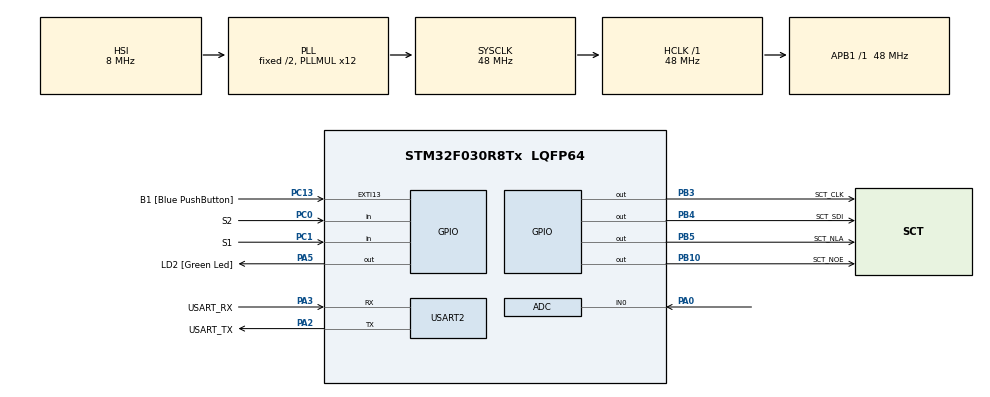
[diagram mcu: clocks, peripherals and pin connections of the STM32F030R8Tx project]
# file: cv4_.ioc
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ADC.ContinuousConvMode=ENABLE
ADC.Overrun=ADC_OVR_DATA_OVERWRITTEN
ADC.SamplingTime=ADC_SAMPLETIME_239CYCLES_5
Mcu.Family=STM32F0
Mcu.Name=STM32F030R8Tx
Mcu.Package=LQFP64
NVIC.ADC1_IRQn=true\:0\:0\:false\:false\:true\:true\:true\:true
PA0.Mode=IN0
PA0.Signal=ADC_IN0
PA13.GPIO_Label=TMS
PA13.Mode=Serial_Wire
PA13.Signal=SYS_SWDIO
PA14.GPIO_Label=TCK
PA14.Mode=Serial_Wire
PA14.Signal=SYS_SWCLK
PA2.GPIO_Label=USART_TX
PA2.GPIO_Mode=GPIO_MODE_AF_PP
PA2.GPIO_PuPd=GPIO_NOPULL
PA2.GPIO_Speed=GPIO_SPEED_FREQ_LOW
PA2.Mode=Asynchronous
PA2.Signal=USART2_TX
PA3.GPIO_Label=USART_RX
PA3.GPIO_Mode=GPIO_MODE_AF_PP
PA3.GPIO_PuPd=GPIO_NOPULL
PA3.GPIO_Speed=GPIO_SPEED_FREQ_LOW
PA3.Mode=Asynchronous
PA3.Signal=USART2_RX
PA5.GPIO_Label=LD2 [Green Led]
PA5.GPIO_Mode=GPIO_MODE_OUTPUT_PP
PA5.GPIO_PuPd=GPIO_NOPULL
PA5.GPIO_Speed=GPIO_SPEED_FREQ_LOW
PA5.Signal=GPIO_Output
PB10.GPIO_Label=SCT_NOE
PB10.Signal=GPIO_Output
PB3.GPIO_Label=SCT_CLK
PB3.Signal=GPIO_Output
PB4.GPIO_Label=SCT_SDI
PB4.Signal=GPIO_Output
PB5.GPIO_Label=SCT_NLA
PB5.Signal=GPIO_Output
PC0.GPIO_Label=S2
PC0.GPIO_PuPd=GPIO_PULLUP
PC0.Signal=GPIO_Input
PC1.GPIO_Label=S1
PC1.GPIO_PuPd=GPIO_PULLUP
PC1.Signal=GPIO_Input
PC13.GPIO_Label=B1 [Blue PushButton]
PC13.GPIO_ModeDefaultEXTI=GPIO_MODE_IT_FALLING
PC13.Signal=GPXTI13
PC14-OSC32_IN.Mode=LSE-External-Oscillator
PC14-OSC32_IN.Signal=RCC_OSC32_IN
PC15-OSC32_OUT.Mode=LSE-External-Oscillator
PC15-OSC32_OUT.Signal=RCC_OSC32_OUT
PF0-OSC_IN.Mode=HSE-External-Clock-Source
PF0-OSC_IN.Signal=RCC_OSC_IN
PF1-OSC_OUT.Signal=RCC_OSC_OUT
ProjectManager.HeapSize=0x200
ProjectManager.StackSize=0x400
ProjectManager.TargetToolchain=STM32CubeIDE
RCC.AHBFreq_Value=48000000
RCC.APB1Freq_Value=48000000
RCC.APB1TimFreq_Value=48000000
RCC.HCLKFreq_Value=48000000
RCC.PLLMUL=RCC_PLL_MUL12
RCC.SYSCLKFreq_VALUE=48000000
RCC.SYSCLKSource=RCC_SYSCLKSOURCE_PLLCLK
USART2.VirtualMode-Asynchronous=VM_ASYNC
VP_ADC_TempSens_Input.Mode=IN-TempSens
VP_ADC_Vref_Input.Mode=IN-Vrefint
board=NUCLEO-F030R8

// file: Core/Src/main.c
/* USER CODE BEGIN Header */
/**
  ******************************************************************************
  * @file           : main.c
  * @brief          : Main program body
  ******************************************************************************
  * @attention
  *
  * Copyright (c) 2025 STMicroelectronics.
  * All rights reserved.
  *
  * This software is licensed under terms that can be found in the LICENSE file
  * in the root directory of this software component.
  * If no LICENSE file comes with this software, it is provided AS-IS.
  *
  ******************************************************************************
  */
/* USER CODE END Header */
#include "main.h"

/* USER CODE BEGIN Includes */
#include "sct.h"
/* USER CODE END Includes */

/* USER CODE BEGIN PD */
#define ADC_Q 12

/* Temperature sensor calibration value address */
#define TEMP110_CAL_ADDR ((uint16_t*) ((uint32_t) 0x1FFFF7C2))
#define TEMP30_CAL_ADDR ((uint16_t*) ((uint32_t) 0x1FFFF7B8))
/* Internal voltage reference calibration value address */
#define VREFINT_CAL_ADDR ((uint16_t*) ((uint32_t) 0x1FFFF7BA))
/* USER CODE END PD */

ADC_HandleTypeDef hadc;

UART_HandleTypeDef huart2;

/* USER CODE BEGIN PV */
static volatile uint32_t raw_pot;
static volatile uint32_t avg_pot;

static enum {
	SHOW_POT,
	SHOW_VOLT,
	SHOW_TEMP
} state = SHOW_POT;

static volatile uint32_t raw_temp;
static volatile uint32_t raw_volt;
/* USER CODE END PV */

void SystemClock_Config(void);
static void MX_GPIO_Init(void);
static void MX_USART2_UART_Init(void);
static void MX_ADC_Init(void);

int main(void)
{

  /* MCU Configuration--------------------------------------------------------*/

  /* Reset of all peripherals, Initializes the Flash interface and the Systick. */
  HAL_Init();

  /* USER CODE BEGIN Init */
  sct_init();
  /* USER CODE END Init */

  /* Configure the system clock */
  SystemClock_Config();

  /* Initialize all configured peripherals */
  MX_GPIO_Init();
  MX_USART2_UART_Init();
  MX_ADC_Init();
  /* USER CODE BEGIN 2 */

  HAL_ADCEx_Calibration_Start(&hadc);
  HAL_ADC_Start_IT(&hadc);
  /* USER CODE END 2 */

  /* Infinite loop */
  /* USER CODE BEGIN WHILE */
  while (1)
  {
	 static uint32_t time = 0;

	 switch(state)
	 {
	 case SHOW_POT:
		 uint16_t pot_value = ((avg_pot >> ADC_Q) * 501) / 4096;
		 sct_value(pot_value, (pot_value * 8) / 500);
		 HAL_Delay(50);
		 break;
	 case SHOW_VOLT:
		 uint32_t voltage;
		 	voltage = 330 * (*VREFINT_CAL_ADDR) / raw_volt;
		 sct_value(voltage,1);
		 break;
	 case SHOW_TEMP:
		 int32_t temperature = (raw_temp - (int32_t)(*TEMP30_CAL_ADDR));
		 	temperature = temperature * (int32_t)(110 - 30);
		 	temperature = temperature / (int32_t)(*TEMP110_CAL_ADDR - *TEMP30_CAL_ADDR);
		 	temperature = temperature + 30;
		 sct_value(temperature,1);
		 break;
	 }

	 if (!HAL_GPIO_ReadPin(S1_GPIO_Port, S1_Pin))
	 {
		 time = HAL_GetTick();
		 state = SHOW_VOLT;
	 }
	 if (!HAL_GPIO_ReadPin(S2_GPIO_Port, S2_Pin))
	 {
		 time = HAL_GetTick();
		 state = SHOW_TEMP;
	 }

	 if (time + 1000 < HAL_GetTick()) state = SHOW_POT;

    /* USER CODE END WHILE */

  }
}

void SystemClock_Config(void)
{
  RCC_OscInitTypeDef RCC_OscInitStruct = {0};
  RCC_ClkInitTypeDef RCC_ClkInitStruct = {0};

  /** Initializes the RCC Oscillators according to the specified parameters
  * in the RCC_OscInitTypeDef structure.
  */
  RCC_OscInitStruct.OscillatorType = RCC_OSCILLATORTYPE_HSI|RCC_OSCILLATORTYPE_HSI14;
  RCC_OscInitStruct.HSIState = RCC_HSI_ON;
  RCC_OscInitStruct.HSI14State = RCC_HSI14_ON;
  RCC_OscInitStruct.HSICalibrationValue = RCC_HSICALIBRATION_DEFAULT;
  RCC_OscInitStruct.HSI14CalibrationValue = 16;
  RCC_OscInitStruct.PLL.PLLState = RCC_PLL_ON;
  RCC_OscInitStruct.PLL.PLLSource = RCC_PLLSOURCE_HSI;
  RCC_OscInitStruct.PLL.PLLMUL = RCC_PLL_MUL12;
  RCC_OscInitStruct.PLL.PREDIV = RCC_PREDIV_DIV1;
  if (HAL_RCC_OscConfig(&RCC_OscInitStruct) != HAL_OK)
  {
    Error_Handler();
  }

  /** Initializes the CPU, AHB and APB buses clocks
  */
  RCC_ClkInitStruct.ClockType = RCC_CLOCKTYPE_HCLK|RCC_CLOCKTYPE_SYSCLK
                              |RCC_CLOCKTYPE_PCLK1;
  RCC_ClkInitStruct.SYSCLKSource = RCC_SYSCLKSOURCE_PLLCLK;
  RCC_ClkInitStruct.AHBCLKDivider = RCC_SYSCLK_DIV1;
  RCC_ClkInitStruct.APB1CLKDivider = RCC_HCLK_DIV1;

  if (HAL_RCC_ClockConfig(&RCC_ClkInitStruct, FLASH_LATENCY_1) != HAL_OK)
  {
    Error_Handler();
  }
}

static void MX_ADC_Init(void)
{

  ADC_ChannelConfTypeDef sConfig = {0};

  /** Configure the global features of the ADC (Clock, Resolution, Data Alignment and number of conversion)
  */
  hadc.Instance = ADC1;
  hadc.Init.ClockPrescaler = ADC_CLOCK_ASYNC_DIV1;
  hadc.Init.Resolution = ADC_RESOLUTION_12B;
  hadc.Init.DataAlign = ADC_DATAALIGN_RIGHT;
  hadc.Init.ScanConvMode = ADC_SCAN_DIRECTION_FORWARD;
  hadc.Init.EOCSelection = ADC_EOC_SINGLE_CONV;
  hadc.Init.LowPowerAutoWait = DISABLE;
  hadc.Init.LowPowerAutoPowerOff = DISABLE;
  hadc.Init.ContinuousConvMode = ENABLE;
  hadc.Init.DiscontinuousConvMode = DISABLE;
  hadc.Init.ExternalTrigConv = ADC_SOFTWARE_START;
  hadc.Init.ExternalTrigConvEdge = ADC_EXTERNALTRIGCONVEDGE_NONE;
  hadc.Init.DMAContinuousRequests = DISABLE;
  hadc.Init.Overrun = ADC_OVR_DATA_OVERWRITTEN;
  if (HAL_ADC_Init(&hadc) != HAL_OK)
  {
    Error_Handler();
  }

  /** Configure for the selected ADC regular channel to be converted.
  */
  sConfig.Channel = ADC_CHANNEL_0;
  sConfig.Rank = ADC_RANK_CHANNEL_NUMBER;
  sConfig.SamplingTime = ADC_SAMPLETIME_239CYCLES_5;
  if (HAL_ADC_ConfigChannel(&hadc, &sConfig) != HAL_OK)
  {
    Error_Handler();
  }

  /** Configure for the selected ADC regular channel to be converted.
  */
  sConfig.Channel = ADC_CHANNEL_TEMPSENSOR;
  if (HAL_ADC_ConfigChannel(&hadc, &sConfig) != HAL_OK)
  {
    Error_Handler();
  }

  /** Configure for the selected ADC regular channel to be converted.
  */
  sConfig.Channel = ADC_CHANNEL_VREFINT;
  if (HAL_ADC_ConfigChannel(&hadc, &sConfig) != HAL_OK)
  {
    Error_Handler();
  }

}

static void MX_USART2_UART_Init(void)
{

  huart2.Instance = USART2;
  huart2.Init.BaudRate = 38400;
  huart2.Init.WordLength = UART_WORDLENGTH_8B;
  huart2.Init.StopBits = UART_STOPBITS_1;
  huart2.Init.Parity = UART_PARITY_NONE;
  huart2.Init.Mode = UART_MODE_TX_RX;
  huart2.Init.HwFlowCtl = UART_HWCONTROL_NONE;
  huart2.Init.OverSampling = UART_OVERSAMPLING_16;
  huart2.Init.OneBitSampling = UART_ONE_BIT_SAMPLE_DISABLE;
  huart2.AdvancedInit.AdvFeatureInit = UART_ADVFEATURE_NO_INIT;
  if (HAL_UART_Init(&huart2) != HAL_OK)
  {
    Error_Handler();
  }

}

static void MX_GPIO_Init(void)
{
  GPIO_InitTypeDef GPIO_InitStruct = {0};

  /* GPIO Ports Clock Enable */
  __HAL_RCC_GPIOC_CLK_ENABLE();
  __HAL_RCC_GPIOF_CLK_ENABLE();
  __HAL_RCC_GPIOA_CLK_ENABLE();
  __HAL_RCC_GPIOB_CLK_ENABLE();

  /*Configure GPIO pin Output Level */
  HAL_GPIO_WritePin(LD2_GPIO_Port, LD2_Pin, GPIO_PIN_RESET);

  /*Configure GPIO pin Output Level */
  HAL_GPIO_WritePin(GPIOB, SCT_NOE_Pin|SCT_CLK_Pin|SCT_SDI_Pin|SCT_NLA_Pin, GPIO_PIN_RESET);

  /*Configure GPIO pin : B1_Pin */
  GPIO_InitStruct.Pin = B1_Pin;
  GPIO_InitStruct.Mode = GPIO_MODE_IT_FALLING;
  GPIO_InitStruct.Pull = GPIO_NOPULL;
  HAL_GPIO_Init(B1_GPIO_Port, &GPIO_InitStruct);

  /*Configure GPIO pins : S2_Pin S1_Pin */
  GPIO_InitStruct.Pin = S2_Pin|S1_Pin;
  GPIO_InitStruct.Mode = GPIO_MODE_INPUT;
  GPIO_InitStruct.Pull = GPIO_PULLUP;
  HAL_GPIO_Init(GPIOC, &GPIO_InitStruct);

  /*Configure GPIO pin : LD2_Pin */
  GPIO_InitStruct.Pin = LD2_Pin;
  GPIO_InitStruct.Mode = GPIO_MODE_OUTPUT_PP;
  GPIO_InitStruct.Pull = GPIO_NOPULL;
  GPIO_InitStruct.Speed = GPIO_SPEED_FREQ_LOW;
  HAL_GPIO_Init(LD2_GPIO_Port, &GPIO_InitStruct);

  /*Configure GPIO pins : SCT_NOE_Pin SCT_CLK_Pin SCT_SDI_Pin SCT_NLA_Pin */
  GPIO_InitStruct.Pin = SCT_NOE_Pin|SCT_CLK_Pin|SCT_SDI_Pin|SCT_NLA_Pin;
  GPIO_InitStruct.Mode = GPIO_MODE_OUTPUT_PP;
  GPIO_InitStruct.Pull = GPIO_NOPULL;
  GPIO_InitStruct.Speed = GPIO_SPEED_FREQ_LOW;
  HAL_GPIO_Init(GPIOB, &GPIO_InitStruct);

}

/* USER CODE BEGIN 4 */

void HAL_ADC_ConvCpltCallback(ADC_HandleTypeDef* hadc)
{
	static uint16_t channel = 0;

	switch(channel)
	{
	case 0:
		raw_pot = avg_pot >> ADC_Q;
		avg_pot -= raw_pot;
		avg_pot +=  HAL_ADC_GetValue(hadc);
		break;
	case 1:
		raw_temp = HAL_ADC_GetValue(hadc); break;
	case 2:
		raw_volt = HAL_ADC_GetValue(hadc); break;
	}

	if (__HAL_ADC_GET_FLAG(hadc, ADC_FLAG_EOS)) channel = 0;
	else channel++;

	//raw_pot = HAL_ADC_GetValue(hadc);

}

/* USER CODE END 4 */

void Error_Handler(void)
{
  __disable_irq();
  while (1)
  {
  }
}
